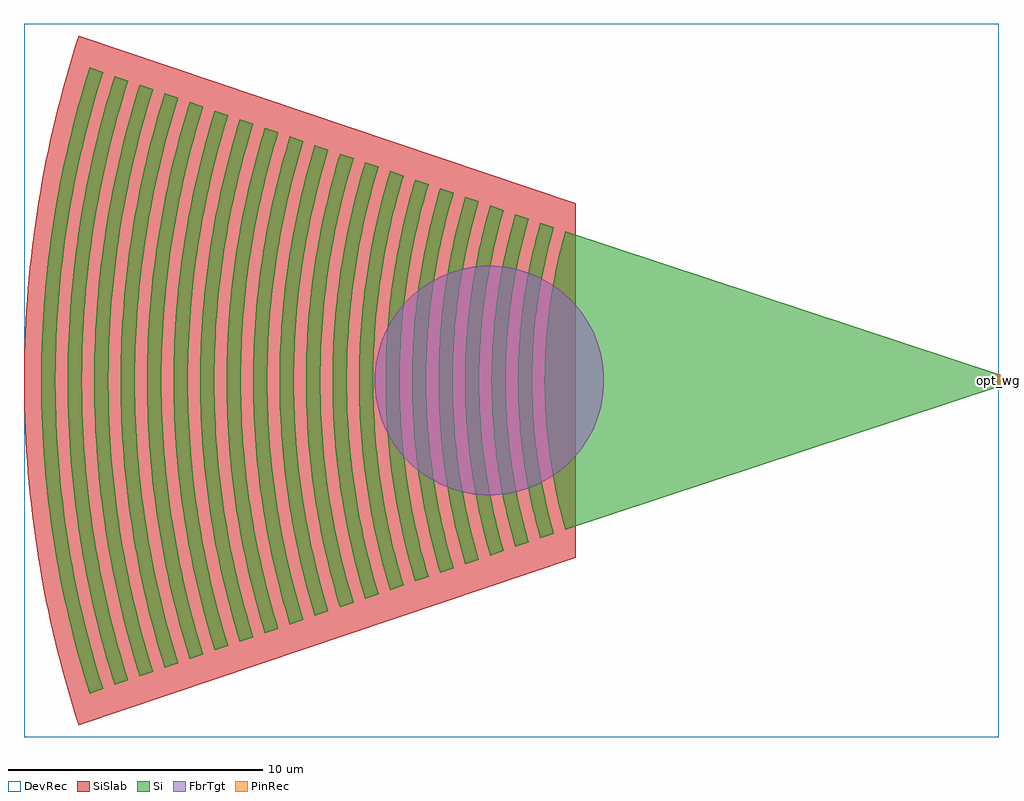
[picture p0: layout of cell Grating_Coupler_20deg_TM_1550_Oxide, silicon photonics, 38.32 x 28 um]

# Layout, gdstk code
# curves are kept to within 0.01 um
import gdstk
lib = gdstk.Library(unit=1e-6, precision=1e-09)
def R(c, l, rs):  # rectangles x0, y0, x1, y1
    for r in rs: c.add(gdstk.rectangle(r[:2], r[2:], *l))
def P(c, l, *ps):  # polygons
    for p in ps: c.add(gdstk.Polygon(p, *l))
Si = (1, 0)
PinRec = (1, 10)
SiSlab = (2, 0)
DevRec = (68, 0)
FbrTgt = (81, 0)

grating_coupler_20deg_tm = lib.new_cell('Grating_Coupler_20deg_TM_1550_Oxide')
R(grating_coupler_20deg_tm, Si, [(-1,-0.25,0,0.25)])
P(grating_coupler_20deg_tm, Si, [(-31.762,-10.937),(-32.147,-9.621),(-32.482,-8.294),(-32.768,-6.956),(-33.002,-5.609),(-33.187,-4.256),(-33.32,-2.897),(-33.403,-1.535),(-33.435,-0.171),(-33.416,1.194),(-33.346,2.557),(-33.225,3.917),(-33.053,5.272),(-32.768,6.956),(-32.482,8.294),(-32.147,9.621),(-31.762,10.937),(-31.233,10.754),(-31.611,9.461),(-31.94,8.155),(-32.22,6.839),(-32.45,5.515),(-32.631,4.185),(-32.762,2.849),(-32.844,1.509),(-32.875,0.168),(-32.856,-1.174),(-32.787,-2.514),(-32.669,-3.851),(-32.5,-5.183),(-32.22,-6.839),(-31.94,-8.155),(-31.611,-9.461),(-31.233,-10.754)],
  [(-32.745,-11.275),(-33.143,-9.919),(-33.49,-8.551),(-33.785,-7.172),(-34.028,-5.784),(-34.218,-4.388),(-34.356,-2.987),(-34.442,-1.583),(-34.475,-0.176),(-34.455,1.231),(-34.383,2.636),(-34.258,4.038),(-34.176,4.738),(-34.028,5.784),(-33.785,7.172),(-33.49,8.551),(-33.143,9.919),(-32.745,11.275),(-32.216,11.093),(-32.607,9.759),(-32.947,8.412),(-33.237,7.055),(-33.476,5.69),(-33.663,4.317),(-33.798,2.939),(-33.882,1.557),(-33.915,0.173),(-33.895,-1.211),(-33.824,-2.594),(-33.702,-3.973),(-33.476,-5.69),(-33.237,-7.055),(-32.947,-8.412),(-32.607,-9.759),(-32.216,-11.093)],
  [(-33.729,-11.614),(-34.14,-10.217),(-34.498,-8.808),(-34.802,-7.388),(-35.053,-5.958),(-35.25,-4.52),(-35.392,-3.077),(-35.481,-1.63),(-35.515,-0.181),(-35.494,1.268),(-35.42,2.716),(-35.291,4.16),(-35.206,4.88),(-35.053,5.958),(-34.802,7.388),(-34.498,8.808),(-34.14,10.217),(-33.729,11.614),(-33.199,11.431),(-33.603,10.057),(-33.955,8.67),(-34.254,7.271),(-34.501,5.864),(-34.694,4.449),(-34.835,3.029),(-34.921,1.605),(-34.955,0.178),(-34.935,-1.248),(-34.905,-1.961),(-34.835,-3.029),(-34.694,-4.449),(-34.501,-5.864),(-34.254,-7.271),(-33.955,-8.67),(-33.603,-10.057),(-33.199,-11.431)],
  [(-34.712,-11.952),(-35.136,-10.516),(-35.505,-9.065),(-35.82,-7.604),(-36.078,-6.132),(-36.281,-4.653),(-36.429,-3.167),(-36.52,-1.678),(-36.555,-0.186),(-36.52,1.678),(-36.429,3.167),(-36.281,4.653),(-36.078,6.132),(-35.82,7.604),(-35.505,9.065),(-35.136,10.516),(-34.712,11.952),(-34.183,11.77),(-34.6,10.355),(-34.963,8.927),(-35.272,7.487),(-35.526,6.038),(-35.726,4.581),(-35.871,3.119),(-35.96,1.652),(-35.995,0.184),(-35.974,-1.285),(-35.943,-2.019),(-35.871,-3.119),(-35.726,-4.581),(-35.526,-6.038),(-35.272,-7.487),(-34.963,-8.927),(-34.6,-10.355),(-34.183,-11.77)],
  [(-35.695,-12.291),(-36.132,-10.814),(-36.513,-9.323),(-36.837,-7.82),(-37.104,-6.306),(-37.313,-4.785),(-37.465,-3.257),(-37.559,-1.726),(-37.595,-0.192),(-37.573,1.342),(-37.494,2.875),(-37.396,4.022),(-37.313,4.785),(-37.104,6.306),(-36.837,7.82),(-36.513,9.323),(-36.132,10.814),(-35.695,12.291),(-35.166,12.109),(-35.596,10.653),(-35.97,9.184),(-36.289,7.703),(-36.552,6.213),(-36.757,4.714),(-36.907,3.209),(-36.999,1.7),(-37.035,0.189),(-37.024,-0.945),(-36.999,-1.7),(-36.907,-3.209),(-36.757,-4.714),(-36.552,-6.213),(-36.289,-7.703),(-35.97,-9.184),(-35.596,-10.653),(-35.166,-12.109)],
  [(-17.012,-5.858),(-17.202,-5.148),(-17.367,-4.434),(-17.508,-3.716),(-17.623,-2.995),(-17.713,-2.272),(-17.779,-1.546),(-17.812,-1.001),(-17.835,-0.091),(-17.826,0.637),(-17.791,1.364),(-17.732,2.09),(-17.648,2.815),(-17.539,3.536),(-17.405,4.255),(-17.246,4.97),(-17.012,5.858),(0,0.25),(0,-0.25)],
  [(-17.995,-6.196),(-18.198,-5.446),(-18.375,-4.692),(-18.525,-3.932),(-18.648,-3.17),(-18.745,-2.404),(-18.815,-1.636),(-18.858,-0.867),(-18.875,-0.096),(-18.865,0.674),(-18.828,1.444),(-18.765,2.212),(-18.675,2.978),(-18.525,3.932),(-18.375,4.692),(-18.198,5.446),(-17.995,6.196),(-17.466,6.014),(-17.792,4.737),(-18.04,3.446),(-18.19,2.333),(-18.291,1.028),(-18.315,0.093),(-18.299,-0.841),(-18.243,-1.774),(-18.169,-2.519),(-18.04,-3.446),(-17.871,-4.369),(-17.662,-5.286),(-17.466,-6.014)],
  [(-18.979,-6.535),(-19.195,-5.745),(-19.383,-4.949),(-19.542,-4.148),(-19.674,-3.344),(-19.777,-2.536),(-19.851,-1.726),(-19.897,-0.914),(-19.915,-0.102),(-19.897,0.914),(-19.851,1.726),(-19.777,2.536),(-19.674,3.344),(-19.542,4.148),(-19.383,4.949),(-19.195,5.745),(-18.979,6.535),(-18.449,6.353),(-18.609,5.777),(-18.797,5.004),(-18.921,4.422),(-19.061,3.641),(-19.175,2.858),(-19.242,2.268),(-19.307,1.48),(-19.338,0.889),(-19.355,0.099),(-19.338,-0.889),(-19.278,-1.875),(-19.175,-2.858),(-19.029,-3.837),(-18.881,-4.616),(-18.706,-5.391),(-18.449,-6.353)],
  [(-19.962,-6.873),(-20.191,-6.043),(-20.39,-5.206),(-20.56,-4.364),(-20.699,-3.518),(-20.808,-2.668),(-20.887,-1.816),(-20.936,-0.962),(-20.955,-0.107),(-20.944,0.748),(-20.887,1.816),(-20.808,2.668),(-20.699,3.518),(-20.56,4.364),(-20.39,5.206),(-20.191,6.043),(-19.962,6.873),(-19.432,6.691),(-19.655,5.882),(-19.802,5.272),(-19.974,4.453),(-20.083,3.837),(-20.176,3.218),(-20.275,2.39),(-20.344,1.56),(-20.377,0.936),(-20.395,0.104),(-20.377,-0.936),(-20.313,-1.975),(-20.229,-2.804),(-20.083,-3.837),(-19.891,-4.863),(-19.706,-5.679),(-19.432,-6.691)],
  [(-20.945,-7.212),(-21.187,-6.341),(-21.398,-5.463),(-21.577,-4.58),(-21.724,-3.692),(-21.84,-2.801),(-21.923,-1.906),(-21.975,-1.01),(-21.995,-0.112),(-21.983,0.785),(-21.939,1.682),(-21.864,2.577),(-21.756,3.47),(-21.617,4.359),(-21.446,5.243),(-21.243,6.122),(-20.945,7.212),(-20.416,7.03),(-20.651,6.18),(-20.807,5.539),(-20.989,4.68),(-21.104,4.032),(-21.203,3.382),(-21.307,2.512),(-21.381,1.639),(-21.416,0.984),(-21.435,0.109),(-21.416,-0.984),(-21.348,-2.076),(-21.232,-3.164),(-21.068,-4.248),(-20.902,-5.11),(-20.705,-5.967),(-20.416,-7.03)],
  [(-21.929,-7.551),(-22.184,-6.639),(-22.406,-5.721),(-22.594,-4.796),(-22.749,-3.867),(-22.871,-2.933),(-22.959,-1.996),(-23.014,-1.057),(-23.035,-0.118),(-23.022,0.823),(-22.976,1.762),(-22.896,2.699),(-22.783,3.634),(-22.636,4.564),(-22.406,5.721),(-22.184,6.639),(-21.929,7.551),(-21.399,7.368),(-21.647,6.479),(-21.863,5.582),(-22.046,4.68),(-22.197,3.773),(-22.316,2.862),(-22.401,1.948),(-22.455,1.032),(-22.475,0.115),(-22.463,-0.803),(-22.418,-1.719),(-22.34,-2.633),(-22.23,-3.545),(-22.087,-4.454),(-21.912,-5.357),(-21.647,-6.479),(-21.399,-7.368)],
  [(-22.912,-7.889),(-23.18,-6.937),(-23.413,-5.978),(-23.612,-5.012),(-23.775,-4.041),(-23.903,-3.065),(-23.995,-2.086),(-24.053,-1.105),(-24.075,-0.123),(-24.062,0.86),(-24.013,1.841),(-23.903,3.065),(-23.775,4.041),(-23.612,5.012),(-23.413,5.978),(-23.18,6.937),(-22.912,7.889),(-22.383,7.707),(-22.644,6.777),(-22.871,5.839),(-23.064,4.896),(-23.223,3.947),(-23.347,2.994),(-23.438,2.038),(-23.493,1.079),(-23.515,0.12),(-23.502,-0.84),(-23.438,-2.038),(-23.347,-2.994),(-23.223,-3.947),(-23.064,-4.896),(-22.871,-5.839),(-22.644,-6.777),(-22.383,-7.707)],
  [(-23.895,-8.228),(-24.176,-7.236),(-24.421,-6.235),(-24.629,-5.228),(-24.8,-4.215),(-24.934,-3.198),(-25.032,-2.176),(-25.092,-1.153),(-25.115,-0.128),(-25.092,1.153),(-25.032,2.176),(-24.934,3.198),(-24.8,4.215),(-24.629,5.228),(-24.421,6.235),(-24.176,7.236),(-23.895,8.228),(-23.366,8.046),(-23.64,7.075),(-23.878,6.097),(-24.081,5.112),(-24.248,4.121),(-24.379,3.126),(-24.474,2.128),(-24.532,1.127),(-24.555,0.125),(-24.541,-0.877),(-24.474,-2.128),(-24.379,-3.126),(-24.248,-4.121),(-24.081,-5.112),(-23.878,-6.097),(-23.64,-7.075),(-23.366,-8.046)],
  [(-24.879,-8.566),(-25.173,-7.534),(-25.429,-6.493),(-25.646,-5.444),(-25.825,-4.389),(-25.966,-3.33),(-26.068,-2.267),(-26.131,-1.201),(-26.155,-0.133),(-26.14,0.934),(-26.087,2),(-25.995,3.064),(-25.864,4.125),(-25.695,5.181),(-25.429,6.493),(-25.173,7.534),(-24.879,8.566),(-24.349,8.384),(-24.636,7.373),(-24.886,6.354),(-25.098,5.328),(-25.273,4.296),(-25.41,3.259),(-25.51,2.218),(-25.571,1.175),(-25.595,0.131),(-25.581,-0.914),(-25.529,-1.957),(-25.439,-2.999),(-25.311,-4.037),(-25.146,-5.07),(-24.943,-6.098),(-24.702,-7.119),(-24.349,-8.384)],
  [(-25.862,-8.905),(-26.169,-7.832),(-26.436,-6.75),(-26.664,-5.66),(-26.851,-4.564),(-26.997,-3.462),(-27.104,-2.357),(-27.17,-1.248),(-27.195,-0.139),(-27.17,1.248),(-27.104,2.357),(-26.997,3.462),(-26.851,4.564),(-26.664,5.66),(-26.436,6.75),(-26.169,7.832),(-25.862,8.905),(-25.333,8.723),(-25.633,7.671),(-25.894,6.611),(-26.116,5.544),(-26.299,4.47),(-26.442,3.391),(-26.546,2.308),(-26.61,1.223),(-26.635,0.136),(-26.62,-0.951),(-26.566,-2.037),(-26.472,-3.121),(-26.299,-4.47),(-26.116,-5.544),(-25.894,-6.611),(-25.633,-7.671),(-25.333,-8.723)],
  [(-26.845,-9.244),(-27.165,-8.13),(-27.444,-7.007),(-27.681,-5.876),(-27.876,-4.738),(-28.029,-3.594),(-28.14,-2.447),(-28.208,-1.296),(-28.235,-0.144),(-28.219,1.008),(-28.14,2.447),(-28.029,3.594),(-27.876,4.738),(-27.681,5.876),(-27.444,7.007),(-27.165,8.13),(-26.845,9.244),(-26.316,9.061),(-26.629,7.97),(-26.901,6.869),(-27.133,5.76),(-27.324,4.644),(-27.473,3.523),(-27.582,2.398),(-27.649,1.27),(-27.675,0.141),(-27.659,-0.988),(-27.603,-2.116),(-27.473,-3.523),(-27.324,-4.644),(-27.133,-5.76),(-26.901,-6.869),(-26.629,-7.97),(-26.316,-9.061)],
  [(-27.829,-9.582),(-28.162,-8.428),(-28.452,-7.264),(-28.698,-6.092),(-28.901,-4.912),(-29.06,-3.727),(-29.176,-2.537),(-29.247,-1.344),(-29.275,-0.149),(-29.258,1.045),(-29.198,2.239),(-29.093,3.43),(-28.945,4.616),(-28.753,5.798),(-28.452,7.264),(-28.162,8.428),(-27.829,9.582),(-27.299,9.4),(-27.625,8.268),(-27.909,7.126),(-28.15,5.976),(-28.349,4.818),(-28.505,3.655),(-28.618,2.488),(-28.688,1.318),(-28.715,0.146),(-28.699,-1.025),(-28.64,-2.196),(-28.505,-3.655),(-28.349,-4.818),(-28.15,-5.976),(-27.909,-7.126),(-27.625,-8.268),(-27.299,-9.4)],
  [(-28.812,-9.921),(-29.158,-8.727),(-29.459,-7.522),(-29.716,-6.308),(-29.927,-5.086),(-30.092,-3.859),(-30.212,-2.627),(-30.286,-1.392),(-30.315,-0.155),(-30.298,1.082),(-30.235,2.318),(-30.092,3.859),(-29.927,5.086),(-29.716,6.308),(-29.459,7.522),(-29.158,8.727),(-28.812,9.921),(-28.283,9.738),(-28.622,8.566),(-28.917,7.383),(-29.168,6.192),(-29.374,4.993),(-29.537,3.788),(-29.654,2.578),(-29.727,1.366),(-29.755,0.152),(-29.738,-1.062),(-29.676,-2.275),(-29.57,-3.486),(-29.419,-4.692),(-29.224,-5.893),(-28.984,-7.086),(-28.7,-8.271),(-28.283,-9.738)],
  [(-29.795,-10.259),(-30.154,-9.025),(-30.467,-7.779),(-30.733,-6.524),(-30.952,-5.261),(-31.124,-3.991),(-31.248,-2.717),(-31.325,-1.439),(-31.355,-0.16),(-31.337,1.12),(-31.272,2.398),(-31.124,3.991),(-30.952,5.261),(-30.733,6.524),(-30.467,7.779),(-30.154,9.025),(-29.795,10.259),(-29.266,10.077),(-29.618,8.864),(-29.924,7.64),(-30.185,6.408),(-30.4,5.167),(-30.568,3.92),(-30.69,2.668),(-30.766,1.414),(-30.795,0.157),(-30.766,-1.414),(-30.69,-2.668),(-30.568,-3.92),(-30.4,-5.167),(-30.185,-6.408),(-29.924,-7.64),(-29.618,-8.864),(-29.266,-10.077)],
  [(-30.779,-10.598),(-31.151,-9.323),(-31.475,-8.036),(-31.75,-6.74),(-31.977,-5.435),(-32.155,-4.124),(-32.284,-2.807),(-32.364,-1.487),(-32.395,-0.165),(-32.376,1.157),(-32.309,2.477),(-32.192,3.795),(-31.977,5.435),(-31.75,6.74),(-31.475,8.036),(-31.151,9.323),(-30.779,10.598),(-30.249,10.416),(-30.614,9.162),(-30.932,7.898),(-31.202,6.624),(-31.425,5.341),(-31.6,4.052),(-31.726,2.759),(-31.805,1.461),(-31.835,0.162),(-31.805,-1.461),(-31.726,-2.759),(-31.6,-4.052),(-31.425,-5.341),(-31.202,-6.624),(-30.932,-7.898),(-30.614,-9.162),(-30.249,-10.416)])
P(grating_coupler_20deg_tm, SiSlab, [(-36.118,-13.54),(-36.612,-11.916),(-37.042,-10.276),(-37.408,-8.621),(-37.709,-6.954),(-37.947,-5.278),(-38.119,-3.593),(-38.225,-1.904),(-38.266,-0.211),(-38.241,1.481),(-38.152,3.171),(-37.995,4.857),(-37.775,6.536),(-37.489,8.206),(-37.14,9.864),(-36.941,10.688),(-36.612,11.916),(-36.118,13.54),(-16.6,6.956),(-16.6,-6.956)])
R(grating_coupler_20deg_tm, DevRec, [(-38.27,-14,0,14)])
P(grating_coupler_20deg_tm, FbrTgt, [(-20.221,-4.5),(-20.661,-4.457),(-21.095,-4.37),(-21.518,-4.242),(-21.926,-4.073),(-22.316,-3.864),(-22.684,-3.619),(-23.026,-3.338),(-23.338,-3.026),(-23.619,-2.684),(-23.864,-2.316),(-24.073,-1.926),(-24.242,-1.518),(-24.37,-1.095),(-24.457,-0.661),(-24.5,-0.221),(-24.5,0.221),(-24.457,0.661),(-24.37,1.095),(-24.242,1.518),(-24.073,1.926),(-23.864,2.316),(-23.619,2.684),(-23.338,3.026),(-23.026,3.338),(-22.684,3.619),(-22.316,3.864),(-21.926,4.073),(-21.518,4.242),(-21.095,4.37),(-20.661,4.457),(-20.221,4.5),(-19.779,4.5),(-19.339,4.457),(-18.905,4.37),(-18.482,4.242),(-18.074,4.073),(-17.684,3.864),(-17.316,3.619),(-16.974,3.338),(-16.662,3.026),(-16.381,2.684),(-16.136,2.316),(-15.927,1.926),(-15.758,1.518),(-15.63,1.095),(-15.543,0.661),(-15.5,0.221),(-15.5,-0.221),(-15.543,-0.661),(-15.63,-1.095),(-15.758,-1.518),(-15.927,-1.926),(-16.136,-2.316),(-16.381,-2.684),(-16.662,-3.026),(-16.974,-3.338),(-17.316,-3.619),(-17.684,-3.864),(-18.074,-4.073),(-18.482,-4.242),(-18.905,-4.37),(-19.339,-4.457),(-19.779,-4.5)])
grating_coupler_20deg_tm.add(gdstk.FlexPath([(-0.05,0),(0.05,0)], 0.5, ends="flush", simple_path=True, layer=1, datatype=10))  # PinRec
grating_coupler_20deg_tm.add(gdstk.Label('opt_wg', (0,0), layer=1, texttype=10))

lib.write_gds('Grating_Coupler_20deg_TM_1550_Oxide.gds')
